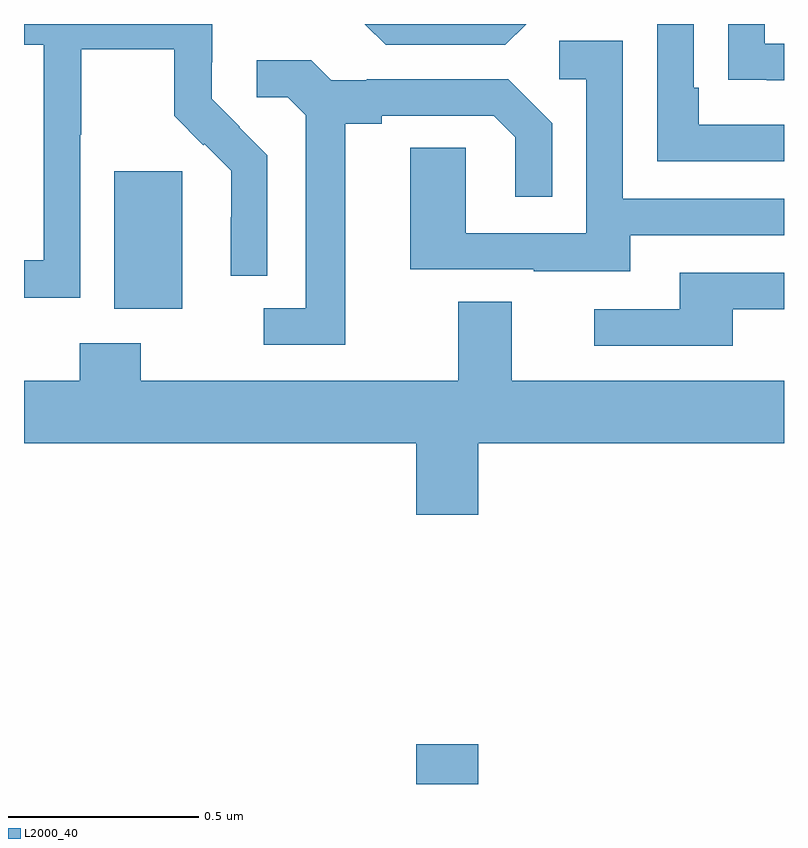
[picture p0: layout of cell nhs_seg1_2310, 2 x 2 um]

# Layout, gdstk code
import gdstk
lib = gdstk.Library(unit=1e-6, precision=1e-09)
def R(c, l, rs):  # rectangles x0, y0, x1, y1
    for r in rs: c.add(gdstk.rectangle(r[:2], r[2:], *l))
def P(c, l, *ps):  # polygons
    for p in ps: c.add(gdstk.Polygon(p, *l))
L2000_40 = (2000, 40)

nhs_seg1_2310 = lib.new_cell('nhs_seg1_2310')
R(nhs_seg1_2310, L2000_40, [(141.032,520.199,141.196,520.303), (140.237,521.45,140.416,521.811)])
P(nhs_seg1_2310, L2000_40, [(140.148,521.908),(140.151,521.908),(140.151,522.132),(140.395,522.132),(140.395,521.957),(140.472,521.88),(140.475,521.883),(140.546,521.813),(140.546,521.69),(140.544,521.69),(140.544,521.536),(140.64,521.536),(140.64,521.854),(140.567,521.927),(140.568,521.928),(140.494,522.002),(140.494,522.099),(140.496,522.099),(140.496,522.199),(140,522.199),(140,522.144),(140.052,522.144),(140.052,521.577),(140,521.577),(140,521.479),(140.148,521.479)],
  [(141.322,522.199),(140.897,522.199),(140.952,522.144),(141.267,522.144)],
  [(142,521.934),(141.775,521.934),(141.775,522.031),(141.762,522.031),(141.762,522.199),(141.666,522.199),(141.666,521.838),(142,521.838)],
  [(142,522.147),(141.949,522.147),(141.949,522.199),(141.853,522.199),(141.853,522.052),(141.955,522.052),(141.955,522.051),(142,522.051)],
  [(141.595,521.643),(142,521.643),(142,521.739),(141.576,521.739),(141.576,522.155),(141.408,522.155),(141.408,522.054),(141.48,522.054),(141.48,521.649),(141.162,521.649),(141.162,521.873),(141.017,521.873),(141.017,521.553),(141.341,521.553),(141.341,521.549),(141.595,521.549)],
  [(140.845,521.936),(140.941,521.936),(140.941,521.958),(141.236,521.958),(141.293,521.901),(141.293,521.745),(141.39,521.745),(141.39,521.938),(141.274,522.054),(140.902,522.054),(140.902,522.051),(140.808,522.051),(140.756,522.103),(140.613,522.103),(140.613,522.006),(140.694,522.006),(140.741,521.959),(140.741,521.451),(140.631,521.451),(140.631,521.355),(140.845,521.355)],
  [(141.865,521.448),(142,521.448),(142,521.544),(141.725,521.544),(141.725,521.448),(141.501,521.448),(141.501,521.352),(141.865,521.352)],
  [(141.196,521.096),(142,521.096),(142,521.26),(141.283,521.26),(141.283,521.468),(141.143,521.468),(141.143,521.26),(140.307,521.26),(140.307,521.359),(140.147,521.359),(140.147,521.26),(140,521.26),(140,521.096),(141.032,521.096),(141.032,520.908),(141.196,520.908)])

lib.write_gds('nhs_seg1_2310.gds')
